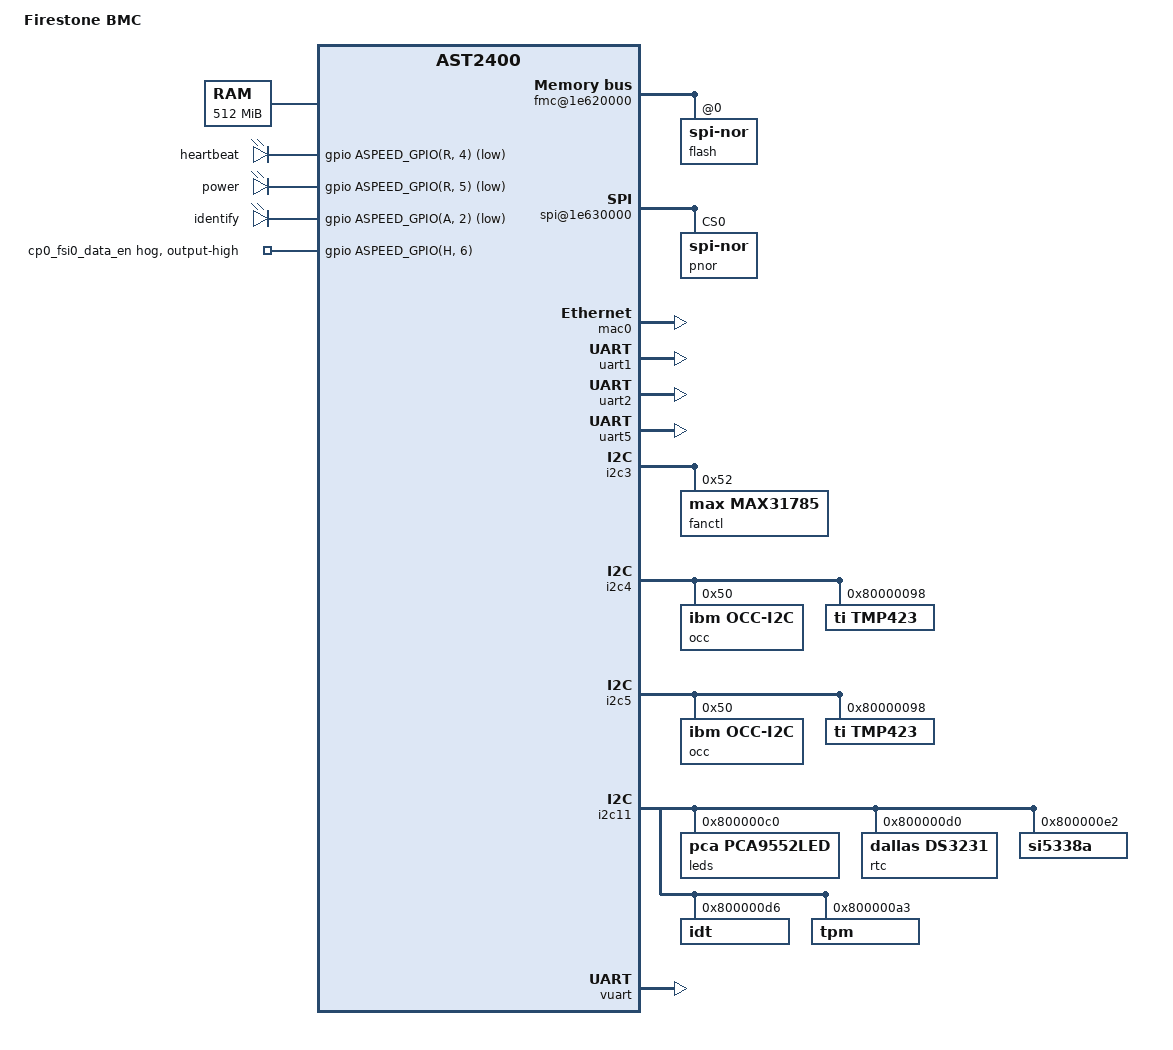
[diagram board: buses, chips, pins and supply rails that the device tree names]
/dts-v1/;

#include "aspeed-g4.dtsi"

#include <dt-bindings/gpio/aspeed-gpio.h>

/ {
	model = "Firestone BMC";
	compatible = "ibm,firestone-bmc", "aspeed,ast2400";

	aliases {
		serial0 = &vuart;
		serial1 = &uart1;
		serial2 = &uart2;
		serial4 = &uart5;
	};

	chosen {
		stdout-path = &uart5;
		bootargs = "console=ttyS4,115200";
	};

	memory {
		reg = <0x40000000 0x20000000>;
	};

	reserved-memory {
		#address-cells = <1>;
		#size-cells = <1>;
		ranges;

		vga_memory: framebuffer@5f000000 {
			no-map;
			reg = <0x5f000000 0x01000000>; /* 16MB */
		};

		flash_memory: region@54000000 {
			compatible = "aspeed,ast2400-lpc-ctrl";
			no-map;
			reg = <0x54000000 0x04000000>; /* 64M */
		};
	};

	leds {
		compatible = "gpio-leds";

		heartbeat {
			gpios = <&gpio ASPEED_GPIO(R, 4) GPIO_ACTIVE_LOW>;
		};

		power {
			gpios = <&gpio ASPEED_GPIO(R, 5) GPIO_ACTIVE_LOW>;
		};

		identify {
			gpios = <&gpio ASPEED_GPIO(A, 2) GPIO_ACTIVE_LOW>;
		};
	};

	ahb {
		fmc@1e620000 {
			reg = < 0x1e620000 0x94
				0x20000000 0x02000000 >;
			#address-cells = <1>;
			#size-cells = <0>;
			compatible = "aspeed,ast2400-fmc";

			flash@0 {
				reg = < 0 >;
				compatible = "jedec,spi-nor" ;
#include "aspeed-bmc-opp-flash-layout.dtsi"
			};
		};

		spi@1e630000 {
			reg = < 0x1e630000 0x18
				0x30000000 0x02000000 >;
			#address-cells = <1>;
			#size-cells = <0>;
			compatible = "aspeed,ast2400-smc";
			pnor@0 {
				reg = < 0 >;
				compatible = "jedec,spi-nor" ;
			};
		};
	};
};

&mac0 {
	status = "okay";

	pinctrl-names = "default";
	pinctrl-0 = <&pinctrl_rgmii1_default &pinctrl_mdio1_default>;
};

&uart1 {
	status = "okay";
};

&uart2 {
	status = "okay";
};

&uart5 {
	status = "okay";
};

&i2c0 {
	// grounded
	status = "disabled";
};

&i2c1 {
	// grounded
	status = "disabled";
};

&i2c2 {
	// i2c mux
};

&i2c3 {
	status = "okay";

	// i2c hub PCA9516A
	// spruce / madrone PDB
	// APSS
	// FIR (fan / SATA backplane)
	fanctl@52 {
		compatible = "max,max31785";
		reg = <0x52>;
	};

};

&i2c4 {
	status = "okay";

	// turismo
	occ@50 {
		compatible = "ibm,occ-i2c";
		reg = <0x50>;
	};

	tmp423@98 {
		compatible = "ti,tmp423";
		reg = <0x80000098>;
	};
};

&i2c5 {
	status = "okay";

	// turismo
	occ@50 {
		compatible = "ibm,occ-i2c";
		reg = <0x50>;
	};

	tmp423@98 {
		compatible = "ti,tmp423";
		reg = <0x80000098>;
	};
};

&i2c6 {
	// NC
	status = "disabled";
};

&i2c7 {
	// NC
	status = "disabled";
};

&i2c8 {
	// FSI (bit-banged interface via GPIO)
	status = "disabled";
};

&i2c9 {
	// 4 way mux
};

&i2c10 {
	// 4 way mux
};

&i2c11 {
	status = "okay";

	leds@c0 {
		compatible = "pca,pca9552led";
		reg = <0x800000c0>;
		// led9 - led_fault_n
		// led10 - pwr_led_n
		// led11 - rear_id_led_n
	};

	rtc@d0 {
		compatible = "dallas,ds3231";
		reg = <0x800000d0>;
	};

	si5338a@e2 {
		// SiLabs clock generator
		reg =<0x800000e2>;
	};

	idt@d6 {
		// IDT 9DBV0641 clock buffer
		reg = <0x800000d6>;
	};

	tpm@a3 {
		reg = <0x800000a3>;
	};
};

&i2c12 {
	// i2c hub PCA9516A
};

&i2c13 {
	// i2c hub PCA9516A
};

&gpio {
	cp0_fsi0_data_en {
		gpio-hog;
		gpios = <ASPEED_GPIO(H, 6) GPIO_ACTIVE_HIGH>;
		output-high;
		line-name = "cp0_fsi0_data_en";
	};
};

&vuart {
	status = "okay";
};
